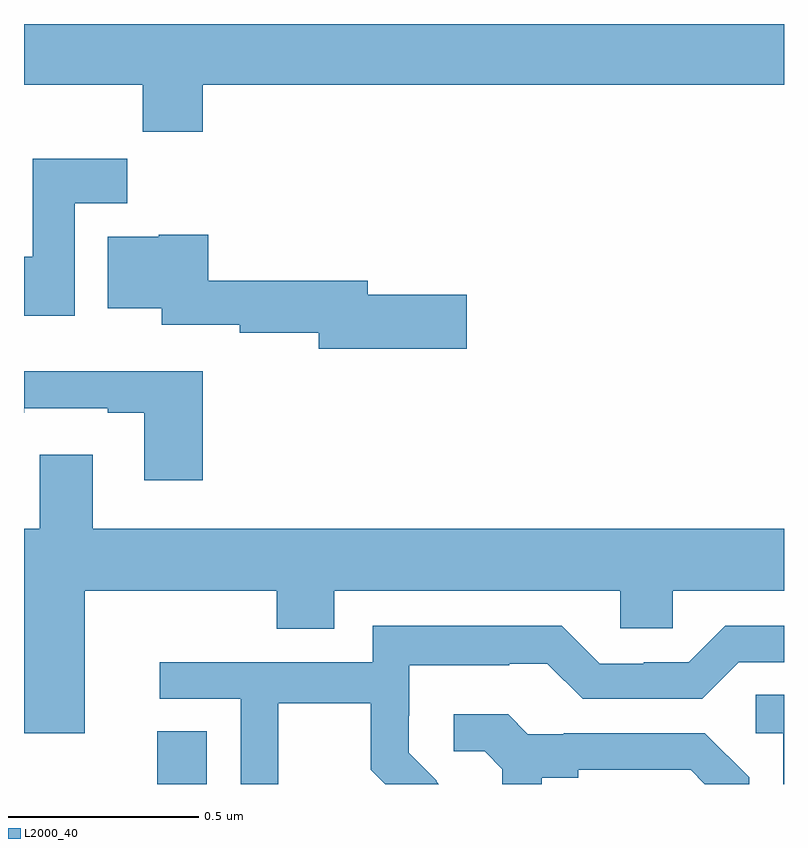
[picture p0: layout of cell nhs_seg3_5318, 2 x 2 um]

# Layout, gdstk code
import gdstk
lib = gdstk.Library(unit=1e-6, precision=1e-09)
def R(c, l, rs):  # rectangles x0, y0, x1, y1
    for r in rs: c.add(gdstk.rectangle(r[:2], r[2:], *l))
def P(c, l, *ps):  # polygons
    for p in ps: c.add(gdstk.Polygon(p, *l))
L2000_40 = (2000, 40)

nhs_seg3_5318 = lib.new_cell('nhs_seg3_5318')
R(nhs_seg3_5318, L2000_40, [(177.35,708.4,177.481,708.539)])
P(nhs_seg3_5318, L2000_40, [(177.47,710.24),(179,710.24),(179,710.4),(177,710.4),(177,710.24),(177.313,710.24),(177.313,710.116),(177.47,710.116)],
  [(177.133,709.928),(177.272,709.928),(177.272,710.046),(177.023,710.046),(177.023,709.788),(177,709.788),(177,709.632),(177.133,709.632)],
  [(178.165,709.688),(177.904,709.688),(177.904,709.724),(177.485,709.724),(177.485,709.846),(177.354,709.846),(177.354,709.84),(177.221,709.84),(177.221,709.652),(177.362,709.652),(177.362,709.608),(177.568,709.608),(177.568,709.588),(177.776,709.588),(177.776,709.546),(178.165,709.546)],
  [(177.47,709.486),(177,709.486),(177,709.377),(177.001,709.377),(177.001,709.389),(177.221,709.389),(177.221,709.377),(177.317,709.377),(177.317,709.2),(177.47,709.2)],
  [(177.16,708.908),(177.665,708.908),(177.665,708.809),(177.817,708.809),(177.817,708.908),(178.569,708.908),(178.569,708.81),(178.707,708.81),(178.707,708.908),(179,708.908),(179,709.072),(177.181,709.072),(177.181,709.267),(177.041,709.267),(177.041,709.072),(177,709.072),(177,708.534),(177.16,708.534)],
  [(177.669,708.612),(177.913,708.612),(177.913,708.437),(177.95,708.4),(178.092,708.4),(178.085,708.407),(178.086,708.408),(178.012,708.482),(178.012,708.579),(178.014,708.579),(178.014,708.713),(178.277,708.713),(178.277,708.717),(178.377,708.717),(178.47,708.624),(178.785,708.624),(178.881,708.72),(179,708.72),(179,708.816),(178.845,708.816),(178.749,708.72),(178.631,708.72),(178.631,708.717),(178.515,708.717),(178.415,708.817),(177.918,708.817),(177.918,708.72),(177.357,708.72),(177.357,708.624),(177.57,708.624),(177.57,708.4),(177.669,708.4)],
  [(179,708.635),(178.926,708.635),(178.926,708.534),(178.998,708.534),(178.998,708.4),(179,708.4)],
  [(178.363,708.416),(178.459,708.416),(178.459,708.438),(178.754,708.438),(178.792,708.4),(178.908,708.4),(178.908,708.418),(178.792,708.534),(178.42,708.534),(178.42,708.531),(178.326,708.531),(178.274,708.583),(178.131,708.583),(178.131,708.486),(178.212,708.486),(178.259,708.439),(178.259,708.4),(178.363,708.4)])

lib.write_gds('nhs_seg3_5318.gds')
